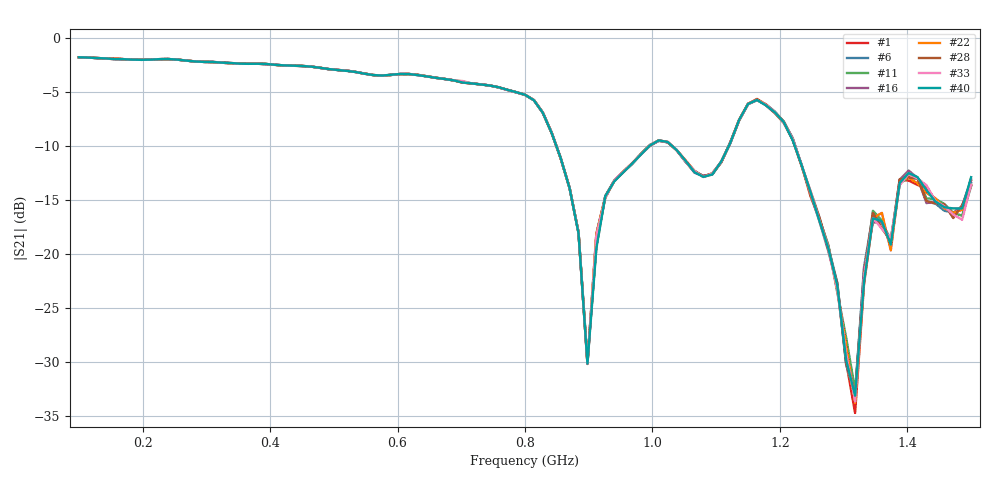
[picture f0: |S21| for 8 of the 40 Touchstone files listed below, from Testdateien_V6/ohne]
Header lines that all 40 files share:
! NanoVNA-App
! Start: 100MHz Stop: 1,5GHz Points: 101
! S-Parameter data: F S11 S21 S12 S22
# Hz S RI R 50
!  Frequency  S11_Real  S11_Imag  S21_Real  S21_Imag  S12_Real  S12_Imag  S22_Real  S22_Imag
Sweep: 100 MHz to 1.5 GHz
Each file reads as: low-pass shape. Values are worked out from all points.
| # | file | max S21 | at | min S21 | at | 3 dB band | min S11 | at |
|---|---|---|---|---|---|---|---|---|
| 1 | ohne (61).s2p | -1.79 dB | 100 MHz | -34.7 dB | 1.318 GHz | 100 MHz-758 MHz | -39.2 dB | 128 MHz |
| 2 | ohne (62).s2p | -1.79 dB | 100 MHz | -35.2 dB | 1.318 GHz | 100 MHz-758 MHz | -39.2 dB | 128 MHz |
| 3 | ohne (63).s2p | -1.79 dB | 100 MHz | -31.8 dB | 1.318 GHz | 100 MHz-758 MHz | -40.1 dB | 716 MHz |
| 4 | ohne (64).s2p | -1.79 dB | 100 MHz | -32.7 dB | 1.318 GHz | 100 MHz-758 MHz | -39.8 dB | 716 MHz |
| 5 | ohne (65).s2p | -1.79 dB | 100 MHz | -33.2 dB | 1.318 GHz | 100 MHz-758 MHz | -39.6 dB | 716 MHz |
| 6 | ohne (66).s2p | -1.79 dB | 100 MHz | -32.9 dB | 1.318 GHz | 100 MHz-758 MHz | -39.4 dB | 716 MHz |
| 7 | ohne (67).s2p | -1.79 dB | 100 MHz | -32.6 dB | 1.318 GHz | 100 MHz-758 MHz | -39.4 dB | 716 MHz |
| 8 | ohne (68).s2p | -1.79 dB | 100 MHz | -35.4 dB | 1.318 GHz | 100 MHz-758 MHz | -39.2 dB | 128 MHz |
| 9 | ohne (69).s2p | -1.79 dB | 100 MHz | -33.5 dB | 1.318 GHz | 100 MHz-772 MHz | -39.3 dB | 716 MHz |
| 10 | ohne (70).s2p | -1.79 dB | 100 MHz | -34.5 dB | 1.318 GHz | 100 MHz-758 MHz | -39.7 dB | 716 MHz |
| 11 | ohne (71).s2p | -1.79 dB | 100 MHz | -32.6 dB | 1.318 GHz | 100 MHz-758 MHz | -39.8 dB | 716 MHz |
| 12 | ohne (72).s2p | -1.79 dB | 100 MHz | -32.8 dB | 1.318 GHz | 100 MHz-758 MHz | -40.0 dB | 716 MHz |
| 13 | ohne (73).s2p | -1.79 dB | 100 MHz | -33.2 dB | 1.318 GHz | 100 MHz-758 MHz | -40.0 dB | 716 MHz |
| 14 | ohne (74).s2p | -1.79 dB | 100 MHz | -33.1 dB | 1.318 GHz | 100 MHz-758 MHz | -39.2 dB | 128 MHz |
| 15 | ohne (75).s2p | -1.79 dB | 100 MHz | -35.1 dB | 1.318 GHz | 100 MHz-758 MHz | -40.0 dB | 716 MHz |
| 16 | ohne (76).s2p | -1.79 dB | 100 MHz | -33.3 dB | 1.318 GHz | 100 MHz-758 MHz | -39.9 dB | 716 MHz |
| 17 | ohne (77).s2p | -1.79 dB | 100 MHz | -34.2 dB | 1.318 GHz | 100 MHz-758 MHz | -39.3 dB | 128 MHz |
| 18 | ohne (78).s2p | -1.79 dB | 100 MHz | -35.1 dB | 1.318 GHz | 100 MHz-758 MHz | -39.9 dB | 716 MHz |
| 19 | ohne (79).s2p | -1.79 dB | 100 MHz | -36.7 dB | 1.318 GHz | 100 MHz-758 MHz | -39.2 dB | 128 MHz |
| 20 | ohne (80).s2p | -1.79 dB | 100 MHz | -33.7 dB | 1.318 GHz | 100 MHz-758 MHz | -39.7 dB | 716 MHz |
| 21 | ohne (81).s2p | -1.79 dB | 100 MHz | -34.1 dB | 1.318 GHz | 100 MHz-758 MHz | -39.9 dB | 716 MHz |
| 22 | ohne (82).s2p | -1.79 dB | 100 MHz | -33.8 dB | 1.318 GHz | 100 MHz-758 MHz | -39.7 dB | 716 MHz |
| 23 | ohne (83).s2p | -1.79 dB | 100 MHz | -33.7 dB | 1.318 GHz | 100 MHz-758 MHz | -39.3 dB | 128 MHz |
| 24 | ohne (84).s2p | -1.79 dB | 100 MHz | -33.8 dB | 1.318 GHz | 100 MHz-758 MHz | -39.6 dB | 716 MHz |
| 25 | ohne (85).s2p | -1.79 dB | 100 MHz | -31.2 dB | 1.318 GHz | 100 MHz-758 MHz | -39.8 dB | 716 MHz |
| 26 | ohne (86).s2p | -1.79 dB | 100 MHz | -33.1 dB | 1.318 GHz | 100 MHz-758 MHz | -39.2 dB | 128 MHz |
| 27 | ohne (87).s2p | -1.79 dB | 100 MHz | -33.4 dB | 1.318 GHz | 100 MHz-758 MHz | -39.3 dB | 128 MHz |
| 28 | ohne (88).s2p | -1.79 dB | 100 MHz | -33.0 dB | 1.318 GHz | 100 MHz-758 MHz | -39.3 dB | 128 MHz |
| 29 | ohne (89).s2p | -1.79 dB | 100 MHz | -33.3 dB | 1.318 GHz | 100 MHz-758 MHz | -39.3 dB | 128 MHz |
| 30 | ohne (90).s2p | -1.79 dB | 100 MHz | -33.1 dB | 1.318 GHz | 100 MHz-772 MHz | -39.9 dB | 716 MHz |
| 31 | ohne (91).s2p | -1.79 dB | 100 MHz | -34.9 dB | 1.318 GHz | 100 MHz-758 MHz | -39.5 dB | 716 MHz |
| 32 | ohne (92).s2p | -1.79 dB | 100 MHz | -31.2 dB | 1.318 GHz | 100 MHz-758 MHz | -40.1 dB | 716 MHz |
| 33 | ohne (93).s2p | -1.79 dB | 100 MHz | -33.6 dB | 1.318 GHz | 100 MHz-758 MHz | -39.3 dB | 128 MHz |
| 34 | ohne (94).s2p | -1.79 dB | 100 MHz | -32.5 dB | 1.318 GHz | 100 MHz-758 MHz | -39.3 dB | 128 MHz |
| 35 | ohne (95).s2p | -1.79 dB | 100 MHz | -33.3 dB | 1.318 GHz | 100 MHz-758 MHz | -39.3 dB | 128 MHz |
| 36 | ohne (96).s2p | -1.79 dB | 100 MHz | -31.6 dB | 1.318 GHz | 100 MHz-758 MHz | -39.5 dB | 716 MHz |
| 37 | ohne (97).s2p | -1.79 dB | 100 MHz | -35.9 dB | 1.318 GHz | 100 MHz-758 MHz | -39.3 dB | 128 MHz |
| 38 | ohne (98).s2p | -1.79 dB | 100 MHz | -33.3 dB | 1.318 GHz | 100 MHz-758 MHz | -39.2 dB | 128 MHz |
| 39 | ohne (99).s2p | -1.79 dB | 100 MHz | -34.2 dB | 1.318 GHz | 100 MHz-758 MHz | -40.1 dB | 716 MHz |
| 40 | ohne (100).s2p | -1.79 dB | 100 MHz | -33.1 dB | 1.318 GHz | 100 MHz-758 MHz | -39.5 dB | 716 MHz |
